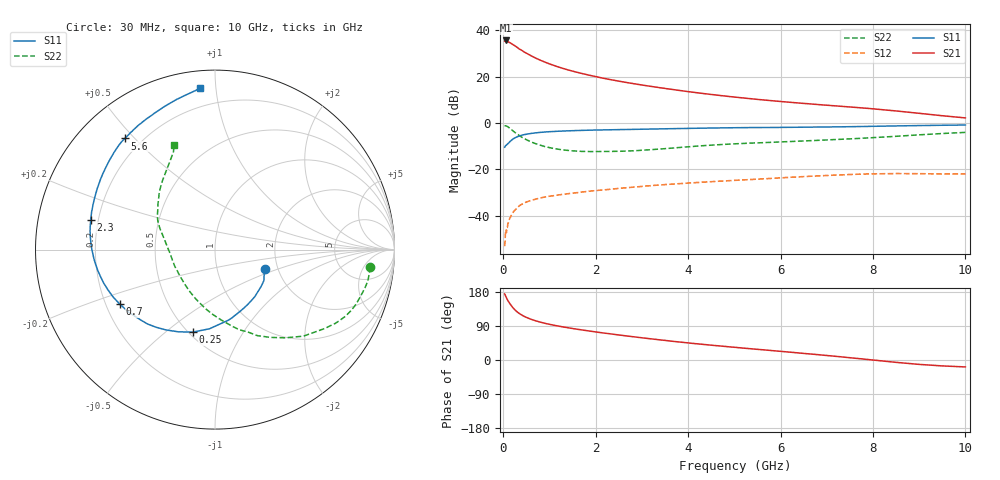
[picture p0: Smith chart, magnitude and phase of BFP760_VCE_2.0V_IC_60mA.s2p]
! Infineon Technologies  Discrete & RF Semiconductors
! BFP760
! VCE =  2.0 V,  IC =  60 mA
! Common Emitter S-Parameters:  Nov 2012
# GHz  S  MA  R  50
!  f  S11  S21  S12  S22
! GHz  MAG  ANG  MAG  ANG  MAG  ANG  MAG  ANG
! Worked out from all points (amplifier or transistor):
!   99 points, 30 MHz to 10 GHz, reference 50 ohm
!   highest |S21| = 35.6 dB at 50 MHz (marker M1)
!   |S21| within 3 dB of that: start of sweep to 302.3 MHz
!   unconditionally stable (mu >= 1): 2.928 GHz to end of sweep
!   at 350 MHz: K = 0.44, MSG = 33.8 dB, |S12| = -35.7 dB
!   at 3.5 GHz: K = 1.04, MAG = 19.5 dB, |S12| = -26.6 dB
!   at 10 GHz: K = 1.07, MAG = 10.5 dB, |S12| = -22.0 dB
!   S11 on the Smith chart (normalised r, x): 30 MHz: 1.72, -0.40; 250 MHz: 0.52, -0.62; 700 MHz: 0.26, -0.25; 2.3 GHz: 0.17, +0.12; 5.6 GHz: 0.14, +0.47; 10 GHz: 0.09, +0.91
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0.03  0.3001 -20.7  58.07 174.3  0.0022 78.1  0.8715 -6.4
0.04  0.3061 -26.5  58.55 172.4  0.0028 84.3  0.8698 -9.1
0.05  0.3224 -32.3  60.2 169.2  0.0045 79.1  0.8691 -11.7
0.07  0.3342 -44.0  59.84 164.0  0.0043 73.2  0.8542 -16.9
0.09  0.3487 -54.3  58.19 159.3  0.0056 69.3  0.8396 -22.0
0.15  0.4005 -79.3  53.67 147.7  0.009 66.2  0.755 -35.5
0.2  0.4426 -94.1  49.64 139.4  0.0114 62.8  0.6893 -44.4
0.25  0.4761 -105.1  46.34 132.7  0.0131 58.0  0.6273 -51.6
0.35  0.5243 -121.4  39.24 122.6  0.0164 53.0  0.5351 -63.7
0.45  0.5595 -132.2  34.05 115.3  0.0185 50.0  0.4676 -73.0
0.6  0.5937 -144.0  28.27 107.5  0.0213 45.8  0.3913 -85.4
0.7  0.611 -150.1  25.14 103.5  0.0227 44.1  0.3584 -92.8
0.9  0.6375 -159.5  20.58 96.9  0.0252 41.7  0.3099 -105.8
1.1  0.6557 -166.9  17.34 91.6  0.0271 40.5  0.2802 -117.2
1.7  0.6912 177.4  11.68 79.4  0.0323 39.4  0.2435 -143.2
2.3  0.7123 166.4  8.683 69.3  0.037 39.3  0.2427 -161.8
3.4  0.7449 149.8  5.743 53.0  0.046 38.1  0.2747 173.1
5.1  0.7911 132.4  3.537 32.5  0.0584 34.2  0.3582 152.9
5.6  0.7971 129.0  3.156 27.1  0.0621 33.0  0.3752 148.6
6.7  0.8144 121.3  2.546 15.3  0.0713 28.8  0.4172 139.2
8.5  0.8634 104.4  1.816 -6.2  0.081 16.9  0.5153 121.9
10  0.9031 95.4  1.285 -18.3  0.0794 11.4  0.626 111.4
